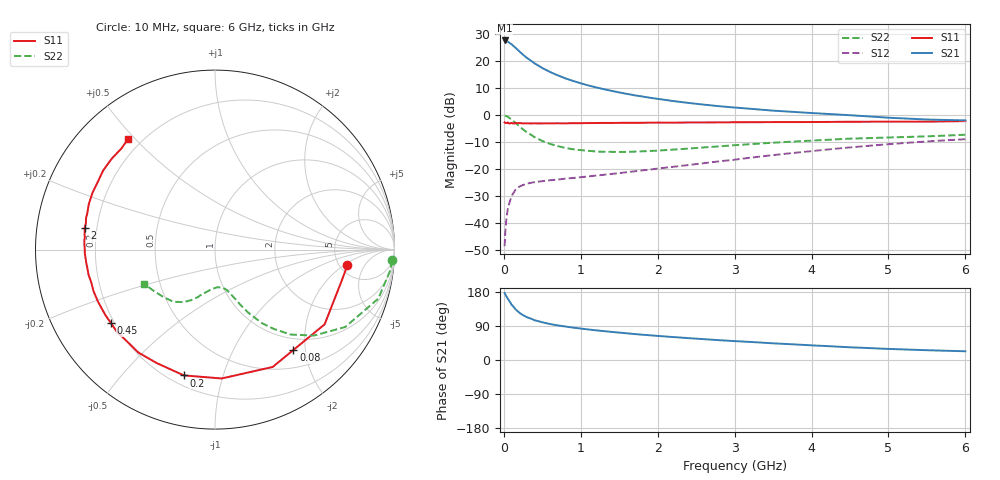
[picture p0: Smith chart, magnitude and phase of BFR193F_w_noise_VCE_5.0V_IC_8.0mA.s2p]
! (c) 2017  Infineon Technologies AG, Munich
! Infineon Technologies  Discrete & RF Semiconductors
! BFR193F
! VCE =  5.0 V,  IC =  8.0 mA
! Common Emitter S-Parameters:  Jan 2017
# GHz  S  MA  R  50
!  f  S11  S21  S12  S22
! GHz  MAG  ANG  MAG  ANG  MAG  ANG  MAG  ANG
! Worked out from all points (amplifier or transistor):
!   77 points, 10 MHz to 6 GHz, reference 50 ohm
!   highest |S21| = 27.7 dB at 10 MHz (marker M1)
!   |S21| within 3 dB of that: start of sweep to 162.3 MHz
!   unconditionally stable (mu >= 1): 1.636 GHz to 2.904 GHz
!   at 130 MHz: K = 0.15, MSG = 27.0 dB, |S12| = -28.5 dB
!   at 2.2 GHz: K = 1.06, MAG = 10.7 dB, |S12| = -19.0 dB
!   at 6 GHz: K = 0.79, MSG = 3.5 dB, |S12| = -8.8 dB
!   lowest NFmin = 0.84 dB at 450 MHz
!   S11 on the Smith chart (normalised r, x): 10 MHz: 5.88, -2.28; 80 MHz: 0.79, -1.78; 200 MHz: 0.26, -0.75; 450 MHz: 0.19, -0.31; 2 GHz: 0.15, +0.08; 6 GHz: 0.15, +0.48
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0.01  0.7432 -6.7  24.39 176.7  0.0038 85.6  0.9893 -3.5
0.02  0.7256 -14.6  24.05 172.6  0.0073 85.3  0.9829 -6.8
0.05  0.7392 -34.3  23.36 162.0  0.018 74.5  0.9501 -16.7
0.08  0.7096 -52.0  21.64 153.0  0.0262 65.6  0.8801 -24.7
0.1  0.7286 -63.8  20.84 146.2  0.0319 62.2  0.8443 -30.7
0.15  0.719 -87.0  17.92 134.2  0.0416 52.9  0.7303 -41.0
0.2  0.7221 -103.9  15.41 125.0  0.0478 46.3  0.6338 -48.3
0.25  0.7107 -117.1  13.24 118.1  0.0516 42.5  0.5491 -53.5
0.3  0.7149 -126.6  11.62 112.9  0.0546 39.4  0.4871 -57.4
0.4  0.7127 -140.3  9.171 104.9  0.0584 36.6  0.3957 -62.3
0.45  0.7099 -144.8  8.338 102.4  0.0595 36.3  0.3662 -63.7
0.6  0.7136 -156.0  6.377 95.0  0.0631 37.0  0.2968 -67.7
0.7  0.7153 -161.2  5.521 91.4  0.065 37.6  0.2709 -69.8
0.9  0.7185 -168.9  4.348 85.5  0.0695 41.2  0.2362 -73.5
1.1  0.7212 -174.3  3.584 80.5  0.0742 45.1  0.2211 -77.4
1.5  0.7279 178.0  2.664 72.3  0.0856 52.0  0.2108 -85.7
2  0.7362 170.7  2.025 63.6  0.1037 59.3  0.2229 -95.8
2.1  0.7351 169.6  1.934 62.1  0.1077 60.6  0.2278 -97.4
3.1  0.7479 159.2  1.363 48.8  0.158 68.7  0.2869 -111.0
4.1  0.7556 148.8  1.087 37.7  0.2257 70.1  0.3475 -122.8
5.1  0.7661 137.4  0.893 28.6  0.3004 66.3  0.3939 -139.1
6  0.7843 128.0  0.808 23.0  0.3634 60.8  0.4392 -154.2
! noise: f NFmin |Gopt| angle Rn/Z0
0.45  0.84  0.25  124  0.08
0.9  0.99  0.4  147  0.07
1.9  1.74  0.61  -177  0.05
2.4  2.11  0.64  -167  0.08
